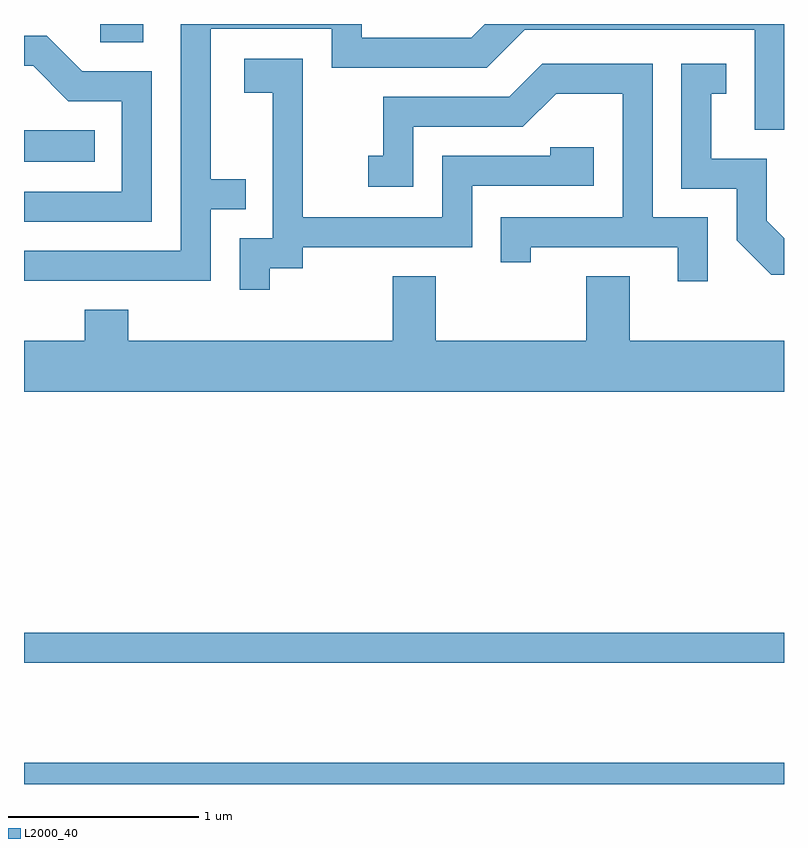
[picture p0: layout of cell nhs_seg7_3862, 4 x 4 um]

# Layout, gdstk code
import gdstk
lib = gdstk.Library(unit=1e-6, precision=1e-09)
def R(c, l, rs):  # rectangles x0, y0, x1, y1
    for r in rs: c.add(gdstk.rectangle(r[:2], r[2:], *l))
def P(c, l, *ps):  # polygons
    for p in ps: c.add(gdstk.Polygon(p, *l))
L2000_40 = (2000, 40)

nhs_seg7_3862 = lib.new_cell('nhs_seg7_3862')
R(nhs_seg7_3862, L2000_40, [(303.611,1712.252,307.611,1712.364), (303.611,1712.891,307.611,1713.049), (303.611,1715.526,303.983,1715.694), (304.011,1716.156,304.239,1716.252)])
P(nhs_seg7_3862, L2000_40, [(304.594,1715.276),(304.778,1715.276),(304.778,1715.434),(304.594,1715.434),(304.594,1716.226),(305.231,1716.226),(305.231,1716.021),(306.047,1716.021),(306.247,1716.221),(307.456,1716.221),(307.456,1715.696),(307.611,1715.696),(307.611,1716.252),(306.037,1716.252),(305.964,1716.179),(305.389,1716.179),(305.389,1716.252),(304.436,1716.252),(304.436,1715.059),(303.611,1715.059),(303.611,1714.901),(304.594,1714.901)],
  [(304.284,1716.004),(303.917,1716.004),(303.732,1716.189),(303.611,1716.189),(303.611,1716.031),(303.659,1716.031),(303.844,1715.846),(304.126,1715.846),(304.126,1715.369),(303.611,1715.369),(303.611,1715.211),(304.284,1715.211)],
  [(304.904,1714.966),(305.079,1714.966),(305.079,1715.076),(305.969,1715.076),(305.969,1715.401),(306.609,1715.401),(306.609,1715.604),(306.381,1715.604),(306.381,1715.559),(305.811,1715.559),(305.811,1715.234),(305.079,1715.234),(305.079,1716.069),(304.771,1716.069),(304.771,1715.891),(304.921,1715.891),(304.921,1715.124),(304.746,1715.124),(304.746,1714.853),(304.904,1714.853)],
  [(307.611,1715.125),(307.519,1715.217),(307.519,1715.544),(307.229,1715.544),(307.229,1715.886),(307.308,1715.886),(307.308,1716.044),(307.071,1716.044),(307.071,1715.386),(307.361,1715.386),(307.361,1715.114),(307.544,1714.931),(307.611,1714.931)],
  [(307.209,1715.234),(306.919,1715.234),(306.919,1716.044),(306.339,1716.044),(306.164,1715.869),(305.501,1715.869),(305.501,1715.559),(305.423,1715.559),(305.423,1715.396),(305.659,1715.396),(305.659,1715.711),(306.237,1715.711),(306.412,1715.886),(306.761,1715.886),(306.761,1715.234),(306.121,1715.234),(306.121,1714.998),(306.279,1714.998),(306.279,1715.076),(307.051,1715.076),(307.051,1714.898),(307.209,1714.898)],
  [(307.611,1714.584),(306.799,1714.584),(306.799,1714.924),(306.571,1714.924),(306.571,1714.584),(305.779,1714.584),(305.779,1714.924),(305.551,1714.924),(305.551,1714.584),(304.159,1714.584),(304.159,1714.749),(303.931,1714.749),(303.931,1714.584),(303.611,1714.584),(303.611,1714.316),(307.611,1714.316)])

lib.write_gds('nhs_seg7_3862.gds')
